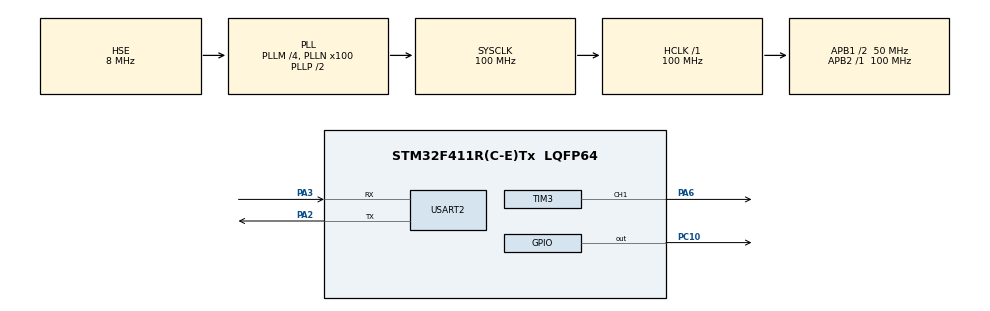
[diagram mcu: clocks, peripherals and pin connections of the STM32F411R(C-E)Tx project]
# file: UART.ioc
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Dma.Request0=USART2_RX
Dma.Request1=USART2_TX
Dma.USART2_RX.0.Direction=DMA_PERIPH_TO_MEMORY
Dma.USART2_RX.0.FIFOMode=DMA_FIFOMODE_DISABLE
Dma.USART2_RX.0.Instance=DMA1_Stream5
Dma.USART2_RX.0.MemDataAlignment=DMA_MDATAALIGN_BYTE
Dma.USART2_RX.0.MemInc=DMA_MINC_ENABLE
Dma.USART2_RX.0.Mode=DMA_NORMAL
Dma.USART2_RX.0.PeriphDataAlignment=DMA_PDATAALIGN_BYTE
Dma.USART2_RX.0.PeriphInc=DMA_PINC_DISABLE
Dma.USART2_RX.0.Priority=DMA_PRIORITY_LOW
Dma.USART2_TX.1.Direction=DMA_MEMORY_TO_PERIPH
Dma.USART2_TX.1.FIFOMode=DMA_FIFOMODE_DISABLE
Dma.USART2_TX.1.Instance=DMA1_Stream6
Dma.USART2_TX.1.MemDataAlignment=DMA_MDATAALIGN_BYTE
Dma.USART2_TX.1.MemInc=DMA_MINC_ENABLE
Dma.USART2_TX.1.Mode=DMA_NORMAL
Dma.USART2_TX.1.PeriphDataAlignment=DMA_PDATAALIGN_BYTE
Dma.USART2_TX.1.PeriphInc=DMA_PINC_DISABLE
Dma.USART2_TX.1.Priority=DMA_PRIORITY_LOW
Mcu.Family=STM32F4
Mcu.Name=STM32F411R(C-E)Tx
Mcu.Package=LQFP64
NVIC.DMA1_Stream5_IRQn=true\:0\:0\:false\:false\:true\:false\:true\:true
NVIC.DMA1_Stream6_IRQn=true\:0\:0\:false\:false\:true\:false\:true\:true
NVIC.PriorityGroup=NVIC_PRIORITYGROUP_4
NVIC.USART2_IRQn=true\:0\:0\:false\:false\:true\:true\:true\:true
PA13.Mode=Serial_Wire
PA13.Signal=SYS_JTMS-SWDIO
PA14.Mode=Serial_Wire
PA14.Signal=SYS_JTCK-SWCLK
PA2.Mode=Asynchronous
PA2.Signal=USART2_TX
PA3.Mode=Asynchronous
PA3.Signal=USART2_RX
PA6.Signal=S_TIM3_CH1
PC10.Signal=GPIO_Output
PH0\ -\ OSC_IN.Mode=HSE-External-Oscillator
PH0\ -\ OSC_IN.Signal=RCC_OSC_IN
PH1\ -\ OSC_OUT.Mode=HSE-External-Oscillator
PH1\ -\ OSC_OUT.Signal=RCC_OSC_OUT
ProjectManager.HeapSize=0x200
ProjectManager.StackSize=0x400
ProjectManager.TargetToolchain=STM32CubeIDE
RCC.48MHZClocksFreq_Value=50000000
RCC.AHBFreq_Value=100000000
RCC.APB1CLKDivider=RCC_HCLK_DIV2
RCC.APB1Freq_Value=50000000
RCC.APB1TimFreq_Value=100000000
RCC.APB2Freq_Value=100000000
RCC.APB2TimFreq_Value=100000000
RCC.CortexFreq_Value=100000000
RCC.HCLKFreq_Value=100000000
RCC.HSE_VALUE=8000000
RCC.HSI_VALUE=16000000
RCC.LSE_VALUE=32768
RCC.PLLM=4
RCC.PLLN=100
RCC.PLLSourceVirtual=RCC_PLLSOURCE_HSE
RCC.SYSCLKFreq_VALUE=100000000
RCC.SYSCLKSource=RCC_SYSCLKSOURCE_PLLCLK
RCC.VCOOutputFreq_Value=200000000
SH.S_TIM3_CH1.0=TIM3_CH1,PWM Generation1 CH1
TIM3.Channel-PWM\ Generation1\ CH1=TIM_CHANNEL_1
TIM3.Period=1000-1
TIM3.Prescaler=1000-1
USART2.VirtualMode=VM_ASYNC
VP_TIM3_VS_ClockSourceINT.Mode=Internal
board=custom

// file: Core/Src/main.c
/* USER CODE BEGIN Header */
/**
  ******************************************************************************
  * @file           : main.c
  * @brief          : Main program body
  ******************************************************************************
  * @attention
  *
  * Copyright (c) 2023 STMicroelectronics.
  * All rights reserved.
  *
  * This software is licensed under terms that can be found in the LICENSE file
  * in the root directory of this software component.
  * If no LICENSE file comes with this software, it is provided AS-IS.
  *
  ******************************************************************************
  */
/* USER CODE END Header */
#include "main.h"
#include "dma.h"
#include "tim.h"
#include "usart.h"
#include "gpio.h"

/* USER CODE BEGIN PV */

// uint8_t txData[] = "Hello world\n\r";
uint8_t rxData;

/* USER CODE END PV */

void SystemClock_Config(void);
/* USER CODE BEGIN PFP */

void HAL_UART_RxCpltCallback(UART_HandleTypeDef *huart)
{
  if(huart->Instance == USART2)
  {
    HAL_UART_Receive_IT(&huart2, rxData, sizeof(rxData));
    HAL_UART_Transmit_IT(&huart2, rxData, sizeof(rxData));
    /*HAL_UART_Receive_DMA(&huart2, &rxData, sizeof(rxData));
    HAL_UART_Transmit_DMA(&huart2, &rxData, sizeof(rxData));*/
  }
}

/* USER CODE END PFP */

int main(void)
{

  /* MCU Configuration--------------------------------------------------------*/

  /* Reset of all peripherals, Initializes the Flash interface and the Systick. */
  HAL_Init();

  /* Configure the system clock */
  SystemClock_Config();

  /* Initialize all configured peripherals */
  MX_GPIO_Init();
  MX_DMA_Init();
  MX_USART2_UART_Init();
  MX_TIM3_Init();
  /* USER CODE BEGIN 2 */
  HAL_TIM_PWM_Start(&htim3, TIM_CHANNEL_1);
  HAL_UART_Receive_IT(&huart2, rxData, sizeof(rxData));
  //HAL_UART_Receive_DMA(&huart2, &rxData, sizeof(rxData));

  /* USER CODE END 2 */

  /* Infinite loop */
  while (1)
  {

    /* USER CODE BEGIN 3 */
    if(rxData[0] == 'a' || rxData[0] == 'b' || rxData[0] == 'c')
    {
      dutyValue = rxData[0];
      switch(dutyValue)
      {
        case 'a':
          TIM3->CCR1 = 0;
          break;
        case 'b':
          TIM3->CCR1 = 500;
          break;
        case 'c':
          TIM3->CCR1 = 999;
          break;
      }
    }

    /*HAL_UART_Transmit(&huart2, txData, sizeof(txData), 100);
    HAL_Delay(1000);*/

  }
  /* USER CODE END 3 */
}

void SystemClock_Config(void)
{
  RCC_OscInitTypeDef RCC_OscInitStruct = {0};
  RCC_ClkInitTypeDef RCC_ClkInitStruct = {0};

  /** Configure the main internal regulator output voltage
  */
  __HAL_RCC_PWR_CLK_ENABLE();
  __HAL_PWR_VOLTAGESCALING_CONFIG(PWR_REGULATOR_VOLTAGE_SCALE1);

  /** Initializes the RCC Oscillators according to the specified parameters
  * in the RCC_OscInitTypeDef structure.
  */
  RCC_OscInitStruct.OscillatorType = RCC_OSCILLATORTYPE_HSE;
  RCC_OscInitStruct.HSEState = RCC_HSE_ON;
  RCC_OscInitStruct.PLL.PLLState = RCC_PLL_ON;
  RCC_OscInitStruct.PLL.PLLSource = RCC_PLLSOURCE_HSE;
  RCC_OscInitStruct.PLL.PLLM = 4;
  RCC_OscInitStruct.PLL.PLLN = 100;
  RCC_OscInitStruct.PLL.PLLP = RCC_PLLP_DIV2;
  RCC_OscInitStruct.PLL.PLLQ = 4;
  if (HAL_RCC_OscConfig(&RCC_OscInitStruct) != HAL_OK)
  {
    Error_Handler();
  }

  /** Initializes the CPU, AHB and APB buses clocks
  */
  RCC_ClkInitStruct.ClockType = RCC_CLOCKTYPE_HCLK|RCC_CLOCKTYPE_SYSCLK
                              |RCC_CLOCKTYPE_PCLK1|RCC_CLOCKTYPE_PCLK2;
  RCC_ClkInitStruct.SYSCLKSource = RCC_SYSCLKSOURCE_PLLCLK;
  RCC_ClkInitStruct.AHBCLKDivider = RCC_SYSCLK_DIV1;
  RCC_ClkInitStruct.APB1CLKDivider = RCC_HCLK_DIV2;
  RCC_ClkInitStruct.APB2CLKDivider = RCC_HCLK_DIV1;

  if (HAL_RCC_ClockConfig(&RCC_ClkInitStruct, FLASH_LATENCY_3) != HAL_OK)
  {
    Error_Handler();
  }
}

void Error_Handler(void)
{
  __disable_irq();
  while (1)
  {
  }
}
